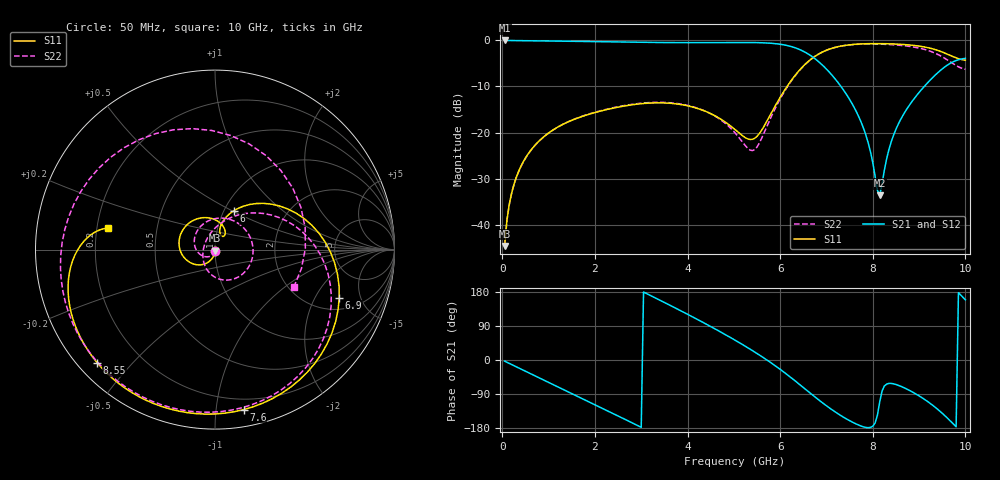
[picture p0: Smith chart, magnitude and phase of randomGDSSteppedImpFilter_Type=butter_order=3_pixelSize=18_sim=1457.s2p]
! freq	dB(S11)	phase(S11)	dB(S12)	phase(S12)
!  dB(S21)	phase(S21)	dB(S22)	phase(S22)
!S-par simulation data
#  GHz  S  DB  R 50
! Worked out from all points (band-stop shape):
!   200 points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, 50 MHz to 10 GHz, reference 50 ohm
!   highest |S21| = -0.01 dB at 50 MHz (marker M1); lowest = -33.6 dB at 8.15 GHz (marker M2)
!   |S21| within 3 dB of the highest: start of sweep to 6.615 GHz
!   lowest |S11| = -44.6 dB at 50 MHz (marker M3), VSWR 1.01, Z = 50 - j0.587 ohm
!   |S11| at or under -10 dB: start of sweep to 6.149 GHz
!   |S22| runs from -44.7 to -0.8 dB; largest |S21 - S12| = 0
!   S11 on the Smith chart (normalised r, x): 50 MHz: 1.00, -0.01; 6 GHz: 1.11, +0.51; 6.9 GHz: 2.69, -3.22; 7.6 GHz: 0.12, -1.19; 8.55 GHz: 0.05, -0.40; 10 GHz: 0.24, +0.09
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0.05  -44.62 -87.7  -0.01 -3.0  -0.01 -3.0  -44.67 -87.7
0.2  -33.21 -95.9  -0.02 -11.9  -0.02 -11.9  -33.27 -105.1
0.5  -25.53 -108.5  -0.05 -29.5  -0.05 -29.5  -25.60 -131.4
1.15  -19.10 -130.8  -0.14 -67.8  -0.14 -67.8  -19.10 173.8
1.75  -16.42 -149.8  -0.23 -103.1  -0.23 -103.1  -16.37 121.9
2.65  -14.21 -179.3  -0.37 -156.6  -0.37 -156.6  -14.12 45.1
3.4  -13.55 148.8  -0.46 158.0  -0.46 158.0  -13.44 -12.7
4.3  -15.06 98.1  -0.47 101.5  -0.47 101.5  -15.02 -72.9
5.05  -19.56 57.4  -0.44 50.7  -0.44 50.7  -20.35 -130.0
5.45  -21.25 68.0  -0.47 21.1  -0.47 21.1  -23.70 149.7
6  -12.37 64.1  -0.83 -24.6  -0.83 -24.6  -12.69 56.2
6.35  -7.26 34.1  -1.69 -57.7  -1.69 -57.7  -7.33 21.7
6.7  -3.83 -1.2  -3.58 -92.5  -3.58 -92.5  -3.83 -12.0
6.9  -2.59 -21.2  -5.24 -111.7  -5.24 -111.7  -2.58 -30.7
7.6  -0.86 -79.9  -14.58 -166.4  -14.58 -166.4  -0.89 -87.8
8.15  -0.70 -114.5  -33.60 -110.4  -33.60 -110.4  -0.80 -126.7
8.35  -0.74 -125.6  -23.64 -61.7  -23.64 -61.7  -0.89 -141.1
8.55  -0.82 -136.1  -18.19 -66.7  -18.19 -66.7  -1.03 -156.5
9.05  -1.31 -161.4  -10.70 -98.5  -10.70 -98.5  -1.78 156.7
9.45  -2.33 -180.0  -6.60 -135.2  -6.60 -135.2  -3.28 100.6
9.75  -3.58 170.9  -4.58 -169.9  -4.58 -169.9  -5.15 38.5
10  -4.29 168.6  -3.90 158.8  -3.90 158.8  -6.27 -25.5
